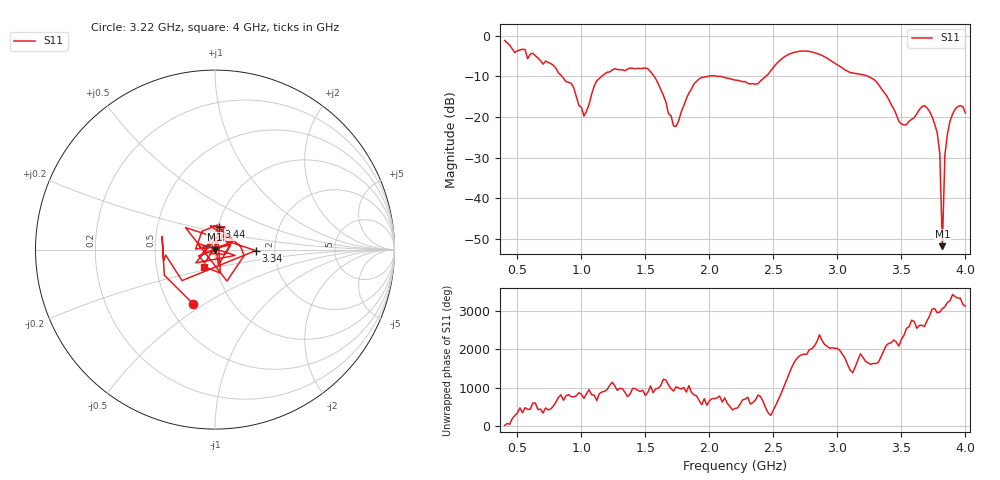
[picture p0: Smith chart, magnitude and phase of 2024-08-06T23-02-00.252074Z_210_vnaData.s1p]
!Created with skrf (http://scikit-rf.org).
# Hz S RI R 50.0
!freq ReS11 ImS11
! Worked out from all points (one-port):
!   181 points, 400 MHz to 4 GHz, reference 50 ohm
!   lowest |S11| = -51.7 dB at 3.82 GHz (marker M1), VSWR 1.01, Z = 49.7 + j0.0259 ohm
!   |S11| at or under -10 dB: 1.568 GHz to 1.991 GHz (423 MHz wide, 23.8 % of centre); 2.06 GHz to 2.441 GHz (381.4 MHz wide, 16.9 % of centre); 3.24 GHz to end of sweep (the widest 3 of 4)
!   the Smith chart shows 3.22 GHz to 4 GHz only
!   S11 on the Smith chart (normalised r, x): 3.22 GHz: 0.66, -0.44; 3.34 GHz: 1.59, -0.02; 3.44 GHz: 1.01, +0.26; 4 GHz: 0.87, -0.17
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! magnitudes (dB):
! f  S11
! 400 MHz  -1.2
! 860 MHz  -10.5
! 940 MHz  -12.8
! 1.02 GHz  -19.8
! 1.12 GHz  -11.1
! 1.3 GHz  -8.4
! 1.52 GHz  -8.2
! 1.6 GHz  -11.8
! 1.72 GHz  -22.2
! 1.76 GHz  -20.9
! 1.92 GHz  -10.6
! 2.2 GHz  -10.9
! 2.38 GHz  -11.8
! 2.66 GHz  -4.1
! 3.1 GHz  -9.1
! 3.22 GHz  -9.8
! 3.34 GHz  -12.9
! 3.44 GHz  -18.0
! 3.5 GHz  -21.7
! 3.56 GHz  -21.0
! 3.68 GHz  -17.2
! 3.78 GHz  -23.9
! 3.8 GHz  -29.0
! 3.82 GHz  -51.7
! 3.84 GHz  -29.3
! 3.86 GHz  -24.1
! 3.92 GHz  -18.0
! 4 GHz  -19.0
